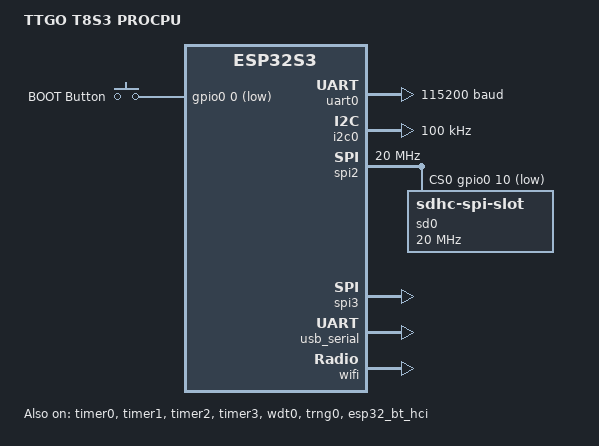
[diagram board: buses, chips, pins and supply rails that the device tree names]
/*
 * Copyright (c) 2022 Espressif Systems (Shanghai) Co., Ltd.
 *
 * SPDX-License-Identifier: Apache-2.0
 */
/dts-v1/;

#include <espressif/esp32s3/esp32s3_wroom_n16r8.dtsi>
#include "ttgo_t8s3-pinctrl.dtsi"
#include <zephyr/dt-bindings/input/input-event-codes.h>
#include <zephyr/dt-bindings/input/esp32-touch-sensor-input.h>
#include <espressif/partitions_0x0_amp.dtsi>

/ {
	model = "TTGO T8S3 PROCPU";
	compatible = "espressif,esp32s3";

	aliases {
		i2c-0 = &i2c0;
		watchdog0 = &wdt0;
		sdhc0 = &sd0;
		uart-0 = &uart0;
		sw0 = &button0;
	};

	chosen {
		zephyr,sram = &sram0;
		/* console can be UART or USB CDC */
		/* zephyr,console = &uart0; */
		/* zephyr,shell-uart = &uart0; */
		zephyr,console = &usb_serial;
		zephyr,shell-uart = &usb_serial;
		zephyr,flash = &flash0;
		zephyr,code-partition = &slot0_partition;
		zephyr,bt-hci = &esp32_bt_hci;
	};

	buttons {
		compatible = "gpio-keys";
		button0: button_0 {
			gpios = <&gpio0 0 (GPIO_PULL_UP | GPIO_ACTIVE_LOW)>;
			label = "BOOT Button";
			zephyr,code = <INPUT_KEY_0>;
		};
	};
};

&uart0 {
	status = "okay";
	current-speed = <115200>;
	pinctrl-0 = <&uart0_default>;
	pinctrl-names = "default";
};

&gpio0 {
	status = "okay";
};

&gpio1 {
	status = "okay";
};

&touch {
	debounce-interval-ms = <30>;
	href-microvolt = <2700000>;
	lref-microvolt = <500000>;
	href-atten-microvolt = <1000000>;
	filter-mode = <ESP32_TOUCH_FILTER_MODE_IIR_16>;
	filter-debounce-cnt = <1>;
	filter-noise-thr = <ESP32_TOUCH_FILTER_NOISE_THR_4_8TH>;
	filter-jitter-step = <4>;
	filter-smooth-level = <ESP32_TOUCH_FILTER_SMOOTH_MODE_IIR_2>;
};

&i2c0 {
	clock-frequency = <I2C_BITRATE_STANDARD>;
	pinctrl-0 = <&i2c0_default>;
	pinctrl-names = "default";
};

&spi2 {
	#address-cells = <1>;
	#size-cells = <0>;
	status = "okay";
	pinctrl-0 = <&spim2_default>;
	pinctrl-names = "default";
	/* dma-enabled; TODO */
	clock-frequency = <20000000>;
	cs-gpios = <&gpio0 10 GPIO_ACTIVE_LOW>;
	sd0: sd@0 {
		compatible = "zephyr,sdhc-spi-slot";
		reg = <0>;
		status = "okay";
		spi-max-frequency = <20000000>;
		mmc {
			compatible = "zephyr,sdmmc-disk";
			disk-name = "SD";
			status = "okay";
		};
	};
};

&spi3 {
	#address-cells = <1>;
	#size-cells = <0>;
	status = "okay";
	pinctrl-0 = <&spim3_default>;
	pinctrl-names = "default";
};

&twai {
	pinctrl-0 = <&twai_default>;
	pinctrl-names = "default";
};

&usb_serial {
	status = "okay";
};

&timer0 {
	status = "okay";
};

&timer1 {
	status = "okay";
};

&timer2 {
	status = "okay";
};

&timer3 {
	status = "okay";
};

&wdt0 {
	status = "okay";
};

&trng0 {
	status = "okay";
};

&esp32_bt_hci {
	status = "okay";
};

&wifi {
	status = "okay";
};
